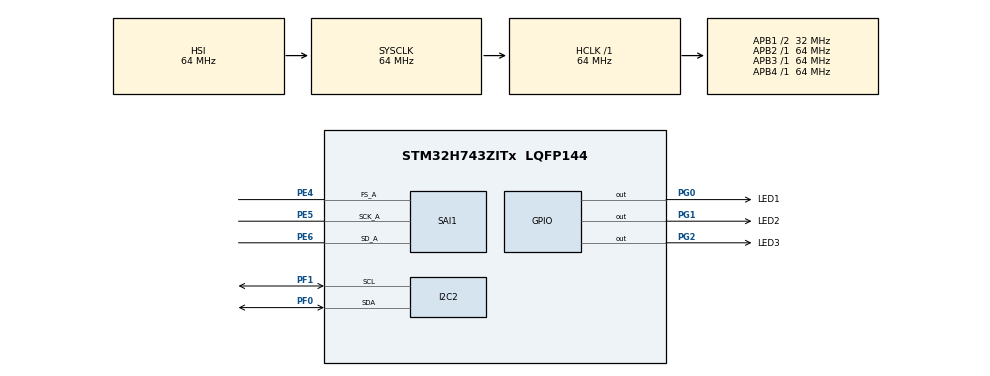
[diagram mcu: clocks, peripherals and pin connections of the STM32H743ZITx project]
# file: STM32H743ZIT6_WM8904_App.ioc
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CORTEX_M7.default_mode_Activation=1
I2C2.Timing=0x00707CBB
Mcu.Family=STM32H7
Mcu.Name=STM32H743ZITx
Mcu.Package=LQFP144
NVIC.PriorityGroup=NVIC_PRIORITYGROUP_4
PC14-OSC32_IN\ (OSC32_IN).Mode=LSE-External-Oscillator
PC14-OSC32_IN\ (OSC32_IN).Signal=RCC_OSC32_IN
PC15-OSC32_OUT\ (OSC32_OUT).Mode=LSE-External-Oscillator
PC15-OSC32_OUT\ (OSC32_OUT).Signal=RCC_OSC32_OUT
PE4.Mode=SAI_A_AsyncSlave
PE4.Signal=SAI1_FS_A
PE5.Mode=SAI_A_AsyncSlave
PE5.Signal=SAI1_SCK_A
PE6.Mode=SAI_A_AsyncSlave
PE6.Signal=SAI1_SD_A
PF0.Mode=I2C
PF0.Signal=I2C2_SDA
PF1.Mode=I2C
PF1.Signal=I2C2_SCL
PG0.GPIO_Label=LED1
PG0.Signal=GPIO_Output
PG1.GPIO_Label=LED2
PG1.Signal=GPIO_Output
PG2.GPIO_Label=LED3
PG2.Signal=GPIO_Output
PH0-OSC_IN\ (PH0).Mode=HSE-External-Oscillator
PH0-OSC_IN\ (PH0).Signal=RCC_OSC_IN
PH1-OSC_OUT\ (PH1).Mode=HSE-External-Oscillator
PH1-OSC_OUT\ (PH1).Signal=RCC_OSC_OUT
ProjectManager.HeapSize=0x200
ProjectManager.StackSize=0x400
ProjectManager.TargetToolchain=CMake
RCC.ADCFreq_Value=129000000
RCC.APB1Freq_Value=32000000
RCC.APB2Freq_Value=64000000
RCC.APB3Freq_Value=64000000
RCC.APB4Freq_Value=64000000
RCC.CortexFreq_Value=64000000
RCC.D2PPRE1=RCC_APB1_DIV2
RCC.DIVM1=4
RCC.DIVN1=9
RCC.HCLKFreq_Value=64000000
RCC.HSE_VALUE=25000000
RCC.PLLFRACN=3072
RCC.SYSCLKFreq_VALUE=64000000
RCC.USBFreq_Value=75000000
SAI1.Instance-SAI_A_AsyncSlave=SAI$Index_Block_A
SAI1.VirtualMode-SAI_A_AsyncSlave=VM_SLAVE
VP_MEMORYMAP_VS_MEMORYMAP.Mode=CurAppReg
board=custom

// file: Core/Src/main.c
/* USER CODE BEGIN Header */
/**
  ******************************************************************************
  * @file           : main.c
  * @brief          : Main program body
  ******************************************************************************
  * @attention
  *
  * Copyright (c) 2025 STMicroelectronics.
  * All rights reserved.
  *
  * This software is licensed under terms that can be found in the LICENSE file
  * in the root directory of this software component.
  * If no LICENSE file comes with this software, it is provided AS-IS.
  *
  ******************************************************************************
  */
/* USER CODE END Header */
#include "main.h"

/* USER CODE BEGIN Includes */
#include "../../Drivers/WM8904/wm8904.h"
#include "../../Drivers/WM8904/wm8904_addon.h"
/* USER CODE END Includes */

I2C_HandleTypeDef hi2c2;

SAI_HandleTypeDef hsai_BlockA1;

/* USER CODE BEGIN PV */
WM8904_Object_t wm8904;
/* USER CODE END PV */

void SystemClock_Config(void);
static void MPU_Config(void);
static void MX_GPIO_Init(void);
static void MX_I2C2_Init(void);
static void MX_SAI1_Init(void);

int main(void)
{

  /* MPU Configuration--------------------------------------------------------*/
  MPU_Config();

  /* MCU Configuration--------------------------------------------------------*/

  /* Reset of all peripherals, Initializes the Flash interface and the Systick. */
  HAL_Init();

  /* Configure the system clock */
  SystemClock_Config();

  /* Initialize all configured peripherals */
  MX_GPIO_Init();
  MX_I2C2_Init();
  MX_SAI1_Init();
  /* USER CODE BEGIN 2 */

  // Initialize the WM8904 codec in loopback mode
  if (WM8904_InitLoopback(&wm8904) != WM8904_OK) {
    Error_Handler();
  }

  /* USER CODE END 2 */

  /* Infinite loop */
  /* USER CODE BEGIN WHILE */
  while (1)
  {
    // Toggle LED1
    HAL_GPIO_TogglePin(GPIOG, LED1_Pin);

    // Delay for 500ms
    HAL_Delay(500);

    /* USER CODE END WHILE */

  }
}

void SystemClock_Config(void)
{
  RCC_OscInitTypeDef RCC_OscInitStruct = {0};
  RCC_ClkInitTypeDef RCC_ClkInitStruct = {0};

  /** Supply configuration update enable
  */
  HAL_PWREx_ConfigSupply(PWR_LDO_SUPPLY);

  /** Configure the main internal regulator output voltage
  */
  __HAL_PWR_VOLTAGESCALING_CONFIG(PWR_REGULATOR_VOLTAGE_SCALE3);

  while(!__HAL_PWR_GET_FLAG(PWR_FLAG_VOSRDY)) {}

  /** Initializes the RCC Oscillators according to the specified parameters
  * in the RCC_OscInitTypeDef structure.
  */
  RCC_OscInitStruct.OscillatorType = RCC_OSCILLATORTYPE_HSI;
  RCC_OscInitStruct.HSIState = RCC_HSI_DIV1;
  RCC_OscInitStruct.HSICalibrationValue = RCC_HSICALIBRATION_DEFAULT;
  RCC_OscInitStruct.PLL.PLLState = RCC_PLL_ON;
  RCC_OscInitStruct.PLL.PLLSource = RCC_PLLSOURCE_HSI;
  RCC_OscInitStruct.PLL.PLLM = 4;
  RCC_OscInitStruct.PLL.PLLN = 9;
  RCC_OscInitStruct.PLL.PLLP = 2;
  RCC_OscInitStruct.PLL.PLLQ = 2;
  RCC_OscInitStruct.PLL.PLLR = 2;
  RCC_OscInitStruct.PLL.PLLRGE = RCC_PLL1VCIRANGE_3;
  RCC_OscInitStruct.PLL.PLLVCOSEL = RCC_PLL1VCOMEDIUM;
  RCC_OscInitStruct.PLL.PLLFRACN = 3072;
  if (HAL_RCC_OscConfig(&RCC_OscInitStruct) != HAL_OK)
  {
    Error_Handler();
  }

  /** Initializes the CPU, AHB and APB buses clocks
  */
  RCC_ClkInitStruct.ClockType = RCC_CLOCKTYPE_HCLK|RCC_CLOCKTYPE_SYSCLK
                              |RCC_CLOCKTYPE_PCLK1|RCC_CLOCKTYPE_PCLK2
                              |RCC_CLOCKTYPE_D3PCLK1|RCC_CLOCKTYPE_D1PCLK1;
  RCC_ClkInitStruct.SYSCLKSource = RCC_SYSCLKSOURCE_HSI;
  RCC_ClkInitStruct.SYSCLKDivider = RCC_SYSCLK_DIV1;
  RCC_ClkInitStruct.AHBCLKDivider = RCC_HCLK_DIV1;
  RCC_ClkInitStruct.APB3CLKDivider = RCC_APB3_DIV1;
  RCC_ClkInitStruct.APB1CLKDivider = RCC_APB1_DIV2;
  RCC_ClkInitStruct.APB2CLKDivider = RCC_APB2_DIV1;
  RCC_ClkInitStruct.APB4CLKDivider = RCC_APB4_DIV1;

  if (HAL_RCC_ClockConfig(&RCC_ClkInitStruct, FLASH_LATENCY_1) != HAL_OK)
  {
    Error_Handler();
  }
}

static void MX_I2C2_Init(void)
{

  hi2c2.Instance = I2C2;
  hi2c2.Init.Timing = 0x00707CBB;
  hi2c2.Init.OwnAddress1 = 0;
  hi2c2.Init.AddressingMode = I2C_ADDRESSINGMODE_7BIT;
  hi2c2.Init.DualAddressMode = I2C_DUALADDRESS_DISABLE;
  hi2c2.Init.OwnAddress2 = 0;
  hi2c2.Init.OwnAddress2Masks = I2C_OA2_NOMASK;
  hi2c2.Init.GeneralCallMode = I2C_GENERALCALL_DISABLE;
  hi2c2.Init.NoStretchMode = I2C_NOSTRETCH_DISABLE;
  if (HAL_I2C_Init(&hi2c2) != HAL_OK)
  {
    Error_Handler();
  }

  /** Configure Analogue filter
  */
  if (HAL_I2CEx_ConfigAnalogFilter(&hi2c2, I2C_ANALOGFILTER_ENABLE) != HAL_OK)
  {
    Error_Handler();
  }

  /** Configure Digital filter
  */
  if (HAL_I2CEx_ConfigDigitalFilter(&hi2c2, 0) != HAL_OK)
  {
    Error_Handler();
  }
  /* USER CODE BEGIN I2C2_Init 2 */

  // Register I2C bus IO functions with WM8904 codec
  WM8904_IO_t io_ctx = {
   .Init = NULL,
   .DeInit = NULL,
   .Address = 0x34, // WM8904 I2C address
   .WriteReg = (WM8904_WriteReg_Func)HAL_I2C_Mem_Write,
   .ReadReg = (WM8904_ReadReg_Func)HAL_I2C_Mem_Read,
   .GetTick = HAL_GetTick
  };

  if (WM8904_RegisterBusIO(&wm8904, &io_ctx) != WM8904_OK)
  {
    Error_Handler();
  }

  /* USER CODE END I2C2_Init 2 */

}

static void MX_SAI1_Init(void)
{

  hsai_BlockA1.Instance = SAI1_Block_A;
  hsai_BlockA1.Init.Protocol = SAI_FREE_PROTOCOL;
  hsai_BlockA1.Init.AudioMode = SAI_MODESLAVE_RX;
  hsai_BlockA1.Init.DataSize = SAI_DATASIZE_8;
  hsai_BlockA1.Init.FirstBit = SAI_FIRSTBIT_MSB;
  hsai_BlockA1.Init.ClockStrobing = SAI_CLOCKSTROBING_FALLINGEDGE;
  hsai_BlockA1.Init.Synchro = SAI_ASYNCHRONOUS;
  hsai_BlockA1.Init.OutputDrive = SAI_OUTPUTDRIVE_DISABLE;
  hsai_BlockA1.Init.FIFOThreshold = SAI_FIFOTHRESHOLD_EMPTY;
  hsai_BlockA1.Init.SynchroExt = SAI_SYNCEXT_DISABLE;
  hsai_BlockA1.Init.MonoStereoMode = SAI_STEREOMODE;
  hsai_BlockA1.Init.CompandingMode = SAI_NOCOMPANDING;
  hsai_BlockA1.Init.TriState = SAI_OUTPUT_NOTRELEASED;
  hsai_BlockA1.Init.PdmInit.Activation = DISABLE;
  hsai_BlockA1.Init.PdmInit.MicPairsNbr = 1;
  hsai_BlockA1.Init.PdmInit.ClockEnable = SAI_PDM_CLOCK1_ENABLE;
  hsai_BlockA1.FrameInit.FrameLength = 8;
  hsai_BlockA1.FrameInit.ActiveFrameLength = 1;
  hsai_BlockA1.FrameInit.FSDefinition = SAI_FS_STARTFRAME;
  hsai_BlockA1.FrameInit.FSPolarity = SAI_FS_ACTIVE_LOW;
  hsai_BlockA1.FrameInit.FSOffset = SAI_FS_FIRSTBIT;
  hsai_BlockA1.SlotInit.FirstBitOffset = 0;
  hsai_BlockA1.SlotInit.SlotSize = SAI_SLOTSIZE_DATASIZE;
  hsai_BlockA1.SlotInit.SlotNumber = 1;
  hsai_BlockA1.SlotInit.SlotActive = 0x00000000;
  if (HAL_SAI_Init(&hsai_BlockA1) != HAL_OK)
  {
    Error_Handler();
  }

}

static void MX_GPIO_Init(void)
{
  GPIO_InitTypeDef GPIO_InitStruct = {0};

  /* GPIO Ports Clock Enable */
  __HAL_RCC_GPIOE_CLK_ENABLE();
  __HAL_RCC_GPIOC_CLK_ENABLE();
  __HAL_RCC_GPIOF_CLK_ENABLE();
  __HAL_RCC_GPIOH_CLK_ENABLE();
  __HAL_RCC_GPIOG_CLK_ENABLE();

  /*Configure GPIO pin Output Level */
  HAL_GPIO_WritePin(GPIOG, LED1_Pin|LED2_Pin|LED3_Pin, GPIO_PIN_RESET);

  /*Configure GPIO pins : LED1_Pin LED2_Pin LED3_Pin */
  GPIO_InitStruct.Pin = LED1_Pin|LED2_Pin|LED3_Pin;
  GPIO_InitStruct.Mode = GPIO_MODE_OUTPUT_PP;
  GPIO_InitStruct.Pull = GPIO_NOPULL;
  GPIO_InitStruct.Speed = GPIO_SPEED_FREQ_LOW;
  HAL_GPIO_Init(GPIOG, &GPIO_InitStruct);

}

 /* MPU Configuration */

void MPU_Config(void)
{
  MPU_Region_InitTypeDef MPU_InitStruct = {0};

  /* Disables the MPU */
  HAL_MPU_Disable();

  /** Initializes and configures the Region and the memory to be protected
  */
  MPU_InitStruct.Enable = MPU_REGION_ENABLE;
  MPU_InitStruct.Number = MPU_REGION_NUMBER0;
  MPU_InitStruct.BaseAddress = 0x0;
  MPU_InitStruct.Size = MPU_REGION_SIZE_4GB;
  MPU_InitStruct.SubRegionDisable = 0x87;
  MPU_InitStruct.TypeExtField = MPU_TEX_LEVEL0;
  MPU_InitStruct.AccessPermission = MPU_REGION_NO_ACCESS;
  MPU_InitStruct.DisableExec = MPU_INSTRUCTION_ACCESS_DISABLE;
  MPU_InitStruct.IsShareable = MPU_ACCESS_SHAREABLE;
  MPU_InitStruct.IsCacheable = MPU_ACCESS_NOT_CACHEABLE;
  MPU_InitStruct.IsBufferable = MPU_ACCESS_NOT_BUFFERABLE;

  HAL_MPU_ConfigRegion(&MPU_InitStruct);
  /* Enables the MPU */
  HAL_MPU_Enable(MPU_PRIVILEGED_DEFAULT);

}

void Error_Handler(void)
{
  /* USER CODE BEGIN Error_Handler_Debug */
  /* User can add his own implementation to report the HAL error return state */
  __disable_irq();
  while (1)
  {
    // Toggle LED1
    HAL_GPIO_TogglePin(GPIOG, LED1_Pin);
    // Delay for 250ms
    HAL_Delay(250);
  }
  /* USER CODE END Error_Handler_Debug */
}
